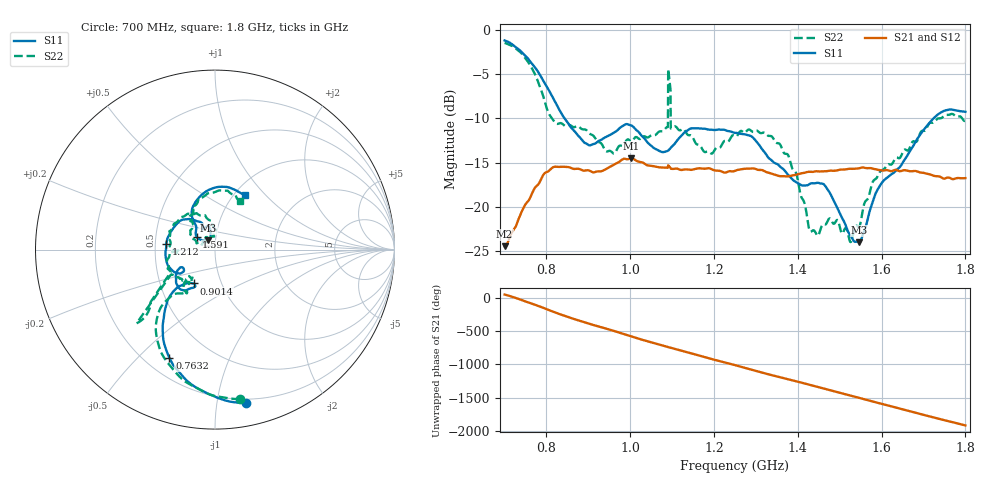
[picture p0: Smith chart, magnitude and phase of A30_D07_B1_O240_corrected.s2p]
! Created with skrf 1.9.0 (http://scikit-rf.org).
# Hz S RI R 50.0
!freq ReS11 ImS11 ReS21 ImS21 ReS12 ImS12 ReS22 ImS22
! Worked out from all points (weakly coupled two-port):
!   1601 points, 700 MHz to 1.8 GHz, reference 50 ohm
!   highest |S21| = -14.51 dB at 1.002 GHz (marker M1); lowest = -24.4 dB at 700 MHz (marker M2)
!   lowest |S11| = -24.0 dB at 1.547 GHz (marker M3), VSWR 1.13, Z = 46.2 + j4.74 ohm
!   |S11| at or under -10 dB: 843.2 MHz to 1.724 GHz (880.7 MHz wide, 68.6 % of centre)
!   |S22| runs from -24.0 to -1.5 dB; largest |S21 - S12| = 0.0036
!   S11 on the Smith chart (normalised r, x): 700 MHz: 0.17, -1.21; 763.2 MHz: 0.30, -0.62; 901.4 MHz: 0.74, -0.29; 1.212 GHz: 0.57, +0.04; 1.591 GHz: 0.81, +0.12; 1.8 GHz: 1.12, +0.77
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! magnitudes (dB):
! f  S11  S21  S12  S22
! 700 MHz  -1.2  -24.4  -24.2  -1.5
! 763.2 MHz  -3.7  -18.7  -18.7  -4.2
! 818.2 MHz  -7.9  -15.5  -15.6  -10.3
! 883.6 MHz  -12.4  -15.8  -15.7  -11.2
! 901.4 MHz  -13.0  -15.9  -15.9  -11.7
! 959.2 MHz  -11.7  -15.3  -15.3  -14.0
! 1.002 GHz  -10.8  -14.5  -14.6  -12.6
! 1.067 GHz  -13.6  -15.5  -15.5  -11.5
! 1.084 GHz  -13.8  -15.6  -15.6  -11.1
! 1.096 GHz  -13.4  -15.6  -15.6  -6.7
! 1.102 GHz  -13.1  -15.7  -15.6  -11.0
! 1.212 GHz  -11.3  -15.9  -15.9  -13.4
! 1.25 GHz  -11.6  -15.9  -15.9  -12.0
! 1.357 GHz  -15.4  -16.5  -16.5  -12.9
! 1.396 GHz  -17.2  -16.4  -16.4  -16.2
! 1.434 GHz  -17.3  -16.1  -16.0  -22.7
! 1.526 GHz  -23.3  -15.7  -15.7  -24.0
! 1.547 GHz  -24.0  -15.6  -15.6  -22.2
! 1.591 GHz  -18.0  -15.8  -15.8  -16.5
! 1.617 GHz  -16.5  -15.9  -15.9  -15.2
! 1.731 GHz  -9.7  -16.5  -16.5  -10.1
! 1.8 GHz  -9.3  -16.8  -16.7  -10.3
